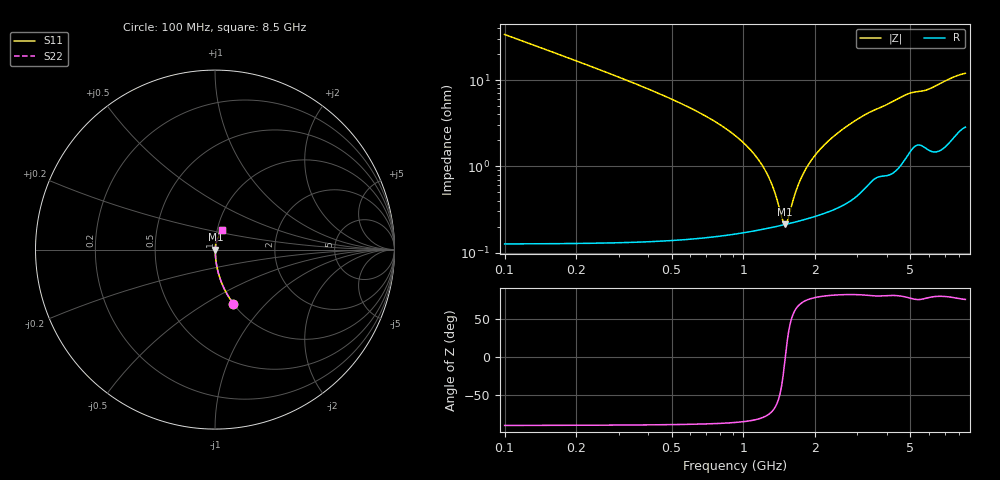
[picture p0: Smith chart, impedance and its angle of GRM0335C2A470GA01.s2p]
!Murata Part Number: GRM0335C2A470GA01
!These Parameters are Measured in Series Mode Connection
!Data Generated on Mar 30, 2021
!  o--ll--o
!Port1  Port2
!  o------o
!Operation Temp=25[degC], DC Bias Voltage=0[V]
!Freq. Start=100[MHz] Stop=9[GHz] 401[Steps]
# Hz S RI R 50
!Freq.(Hz) S11(Real) S11(Imag) S21(Real) S21(Imag) S12(Real) S12(Imag) S22(Real) S22(Imag)
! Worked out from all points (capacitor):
!   401 points, 100 MHz to 8.5 GHz, reference 50 ohm
!   read as one part in series: C = 47 pF near 142 MHz
!   lowest |Z| = 214 mohm at 1.486 GHz (marker M1)
!   series resonance near 1.497 GHz, so ESL is about 240 pH
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1e8  0.1029 -0.302  0.8971 0.302  0.8971 0.302  0.1029 -0.302
2.26e8  0.0222 -0.143  0.9778 0.143  0.9778 0.143  0.0222 -0.143
3.73e8  0.00849 -0.0843  0.9915 0.0843  0.9915 0.0843  0.00849 -0.0843
9.82e8  0.00206 -0.0195  0.9979 0.0195  0.9979 0.0195  0.00206 -0.0195
1.171e9  0.00196 -0.0112  0.998 0.0112  0.998 0.0112  0.00196 -0.0112
1.297e9  0.00198 -0.00647  0.998 0.00647  0.998 0.00647  0.00198 -0.00647
1.444e9  0.00207 -0.00163  0.9979 0.00163  0.9979 0.00163  0.00207 -0.00163
1.486e9  0.00211 -0.000337  0.9979 0.000337  0.9979 0.000337  0.00211 -0.000337
1.507e9  0.00212 0.000293  0.9979 -0.000293  0.9979 -0.000293  0.00212 0.000293
1.549e9  0.00217 0.00153  0.9978 -0.00153  0.9978 -0.00153  0.00217 0.00153
1.633e9  0.00226 0.00391  0.9977 -0.00391  0.9977 -0.00391  0.00226 0.00391
1.717e9  0.00236 0.00618  0.9976 -0.00618  0.9976 -0.00618  0.00236 0.00618
1.822e9  0.00251 0.00889  0.9975 -0.00889  0.9975 -0.00889  0.00251 0.00889
1.969e9  0.00275 0.0125  0.9973 -0.0125  0.9973 -0.0125  0.00275 0.0125
2.347e9  0.00351 0.021  0.9965 -0.021  0.9965 -0.021  0.00351 0.021
2.914e9  0.00533 0.0328  0.9947 -0.0328  0.9947 -0.0328  0.00533 0.0328
3.376e9  0.00802 0.0413  0.992 -0.0413  0.992 -0.0413  0.00802 0.0413
4.3e9  0.0118 0.0563  0.9882 -0.0563  0.9882 -0.0563  0.0118 0.0563
4.951e9  0.0186 0.0663  0.9814 -0.0663  0.9814 -0.0663  0.0186 0.0663
5.707e9  0.0215 0.0706  0.9785 -0.0706  0.9785 -0.0706  0.0215 0.0706
7.114e9  0.0263 0.0941  0.9737 -0.0941  0.9737 -0.0941  0.0263 0.0941
8.5e9  0.0399 0.1085  0.9601 -0.1085  0.9601 -0.1085  0.0399 0.1085
